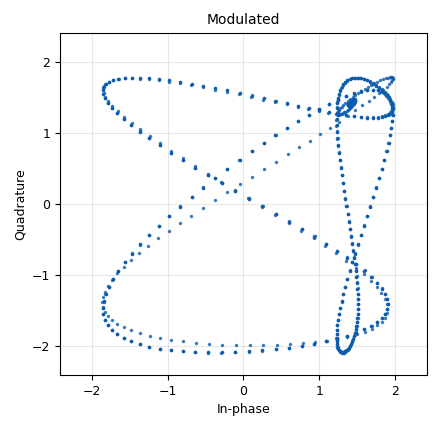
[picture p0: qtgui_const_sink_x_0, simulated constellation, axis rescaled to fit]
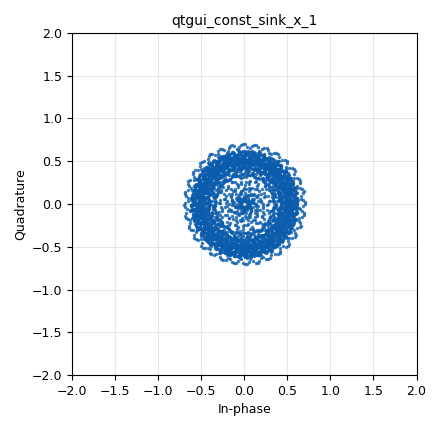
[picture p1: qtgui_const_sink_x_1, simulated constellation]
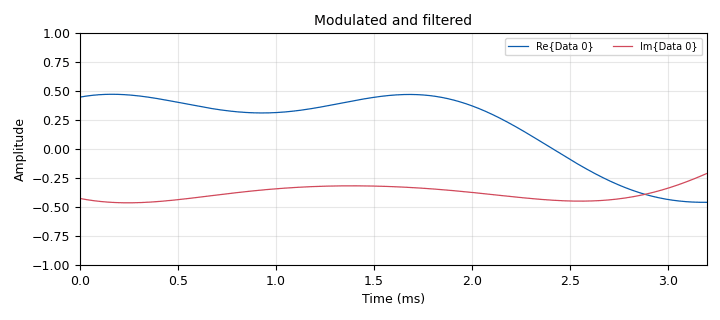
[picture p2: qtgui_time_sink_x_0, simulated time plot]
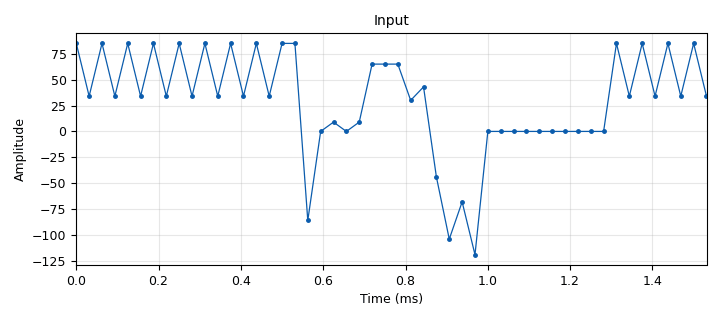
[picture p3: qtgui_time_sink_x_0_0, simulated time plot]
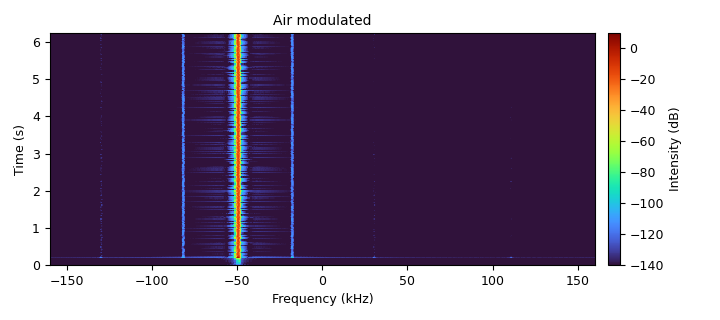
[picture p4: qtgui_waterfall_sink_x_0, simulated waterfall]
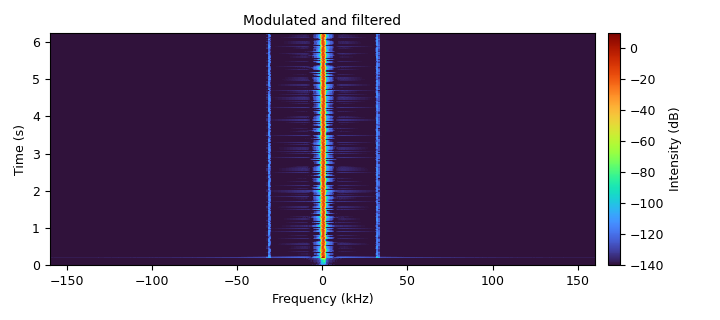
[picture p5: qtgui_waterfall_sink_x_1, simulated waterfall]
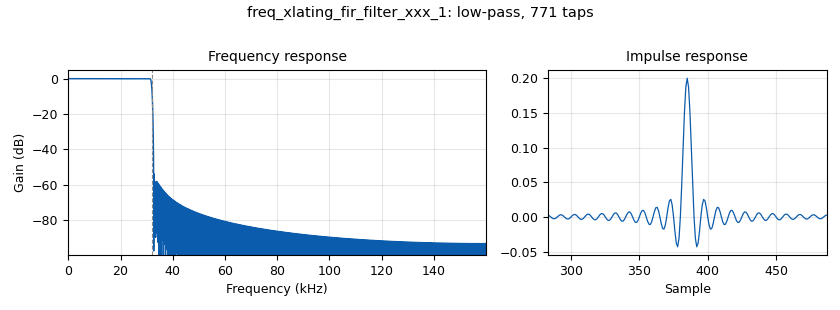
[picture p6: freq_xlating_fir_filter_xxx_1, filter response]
options:
  parameters:
    author: thomas@habets.se
    copyright: thomas@habets.se
    generate_options: qt_gui
    id: dqpsktest_tx
    output_language: python
    title: DQPSK TX test
  states: {}

blocks:
- name: crc_len
  id: variable
  parameters:
    value: '4'
  states: {}
- name: fixed_payload_len
  id: variable
  parameters:
    value: '3'
  states: {}
- name: freq
  id: variable
  parameters:
    value: 2.320e9
  states: {}
- name: offset
  id: variable_qtgui_range
  parameters:
    gui_hint: tabs@1
    orient: Qt.Horizontal
    start: '-300e3'
    step: 1e3
    stop: 300e3
    value: 295e3
  states: {}
- name: ogain
  id: variable_qtgui_range
  parameters:
    gui_hint: tabs@1
    orient: Qt.Horizontal
    start: '0'
    step: '0.01'
    stop: '1'
    value: '0.87'
  states: {}
- name: payload_len
  id: variable
  parameters:
    value: '2'
  states: {}
- name: preamble_len
  id: variable
  parameters:
    value: '16'
  states: {}
- name: qpsk
  id: variable_constellation
  parameters:
    precision: '8'
    type: qpsk
  states: {}
- name: samp_rate
  id: variable
  parameters:
    value: '32000'
  states: {}
- name: sps
  id: variable
  parameters:
    value: '32'
  states: {}
- name: start_tag
  id: variable_tag_object
  parameters:
    comment: Payload start
    key: pmt.intern("packet_len")
    offset: '0'
    src: pmt.intern("src")
    value: pmt.to_pmt(fixed_payload_len+payload_len)
  states: {}
- name: tag_tx_eob
  id: variable_tag_object
  parameters:
    comment: Stop SDR tx
    key: pmt.intern("tx_eob")
    offset: '0'
    src: pmt.intern("src")
    value: pmt.to_pmt(True)
  states: {}
- name: tag_tx_sob
  id: variable_tag_object
  parameters:
    comment: Start SDR tx
    key: pmt.intern("tx_sob")
    offset: '0'
    src: pmt.intern("src")
    value: pmt.to_pmt(True)
  states: {}
- name: trailing_zeroes
  id: variable
  parameters:
    value: '10'
  states: {}
- name: tune_offset
  id: variable
  parameters:
    value: '-50e3'
  states: {}
- name: analog_agc_xx_0
  id: analog_agc_xx
  parameters:
    gain: '1.0'
    max_gain: '65536'
    rate: '1e-4'
    reference: '0.5'
    type: complex
  states: {}
- name: analog_random_source_x_0
  id: analog_random_source_x
  parameters:
    max: '65'
    min: '0'
    num_samps: '1000'
    repeat: 'True'
    type: byte
  states: {}
- name: blocks_char_to_float_0_0
  id: blocks_char_to_float
  parameters:
    scale: '1'
  states: {}
- name: blocks_stream_mux_0
  id: blocks_stream_mux
  parameters:
    lengths: '[fixed_payload_len,payload_len]'
    type: byte
  states: {}
- name: blocks_stream_mux_1
  id: blocks_stream_mux
  parameters:
    lengths: '[preamble_len,7,fixed_payload_len+payload_len+crc_len,trailing_zeroes]'
    num_inputs: '4'
    type: byte
  states: {}
- name: blocks_vector_source_x_0
  id: blocks_vector_source_x
  parameters:
    repeat: 'True'
    tags: ''
    type: byte
    vector: (0x55, 0x55, 0xaa,0x00,fixed_payload_len+payload_len+crc_len,0x00,fixed_payload_len+payload_len+crc_len)
  states: {}
- name: blocks_vector_source_x_0_1
  id: blocks_vector_source_x
  parameters:
    repeat: 'True'
    tags: '[tag_tx_sob]'
    type: byte
    vector: '[0x55, 0x22] * int(preamble_len/2)'
  states: {}
- name: blocks_vector_source_x_1
  id: blocks_vector_source_x
  parameters:
    repeat: 'True'
    tags: '[tag_tx_eob]'
    type: byte
    vector: '[0] * trailing_zeroes'
  states: {}
- name: blocks_vector_source_x_2
  id: blocks_vector_source_x
  parameters:
    repeat: 'True'
    tags: '[start_tag]'
    type: byte
    vector: '[65]*fixed_payload_len'
  states: {}
- name: digital_constellation_modulator_0
  id: digital_constellation_modulator
  parameters:
    constellation: qpsk
    differential: 'True'
    excess_bw: '0.35'
    samples_per_symbol: sps
  states: {}
- name: digital_crc32_bb_0
  id: digital_crc32_bb
  parameters:
    check: 'False'
    lengthtagname: '"packet_len"'
    packed: 'True'
  states: {}
- name: freq_xlating_fir_filter_xxx_0
  id: freq_xlating_fir_filter_xxx
  parameters:
    center_freq: '-tune_offset'
    decim: '1'
    samp_rate: samp_rate*10
    taps: '[1]'
    type: ccc
  states: {}
- name: freq_xlating_fir_filter_xxx_1
  id: freq_xlating_fir_filter_xxx
  parameters:
    center_freq: '0'
    decim: '1'
    samp_rate: samp_rate*10
    taps: firdes.low_pass(1,samp_rate*10,samp_rate,1e3)
    type: ccc
  states: {}
- name: limesdr_sink_0
  id: limesdr_sink
  parameters:
    allow_tcxo_dac: '0'
    channel_mode: '0'
    digital_bandw_ch0: samp_rate*10
    gain_dB_ch0: int(60*ogain)
    oversample: '0'
    rf_freq: freq+offset+tune_offset
    samp_rate: samp_rate*10
  states: {}
- name: note_0
  id: note
  parameters:
    note: Aether
  states: {}
- name: note_1
  id: note
  parameters:
    note: Data generation
  states: {}
- name: note_2
  id: note
  parameters:
    note: Header
  states: {}
- name: note_3
  id: note
  parameters:
    note: Transmit
  states: {}
- name: qtgui_const_sink_x_0
  id: qtgui_const_sink_x
  parameters:
    gui_hint: 'tabs@0: 0,1,2,2'
    name: '"Modulated"'
    size: '1024'
    tr_mode: qtgui.TRIG_MODE_TAG
    tr_tag: '"tx_sob"'
    type: complex
  states: {}
- name: qtgui_const_sink_x_1
  id: qtgui_const_sink_x
  parameters:
    gui_hint: tabs@1
    size: '10240'
    type: complex
  states: {}
- name: qtgui_time_sink_x_0
  id: qtgui_time_sink_x
  parameters:
    name: '"Modulated and filtered"'
    size: '1024'
    srate: samp_rate*10
    type: complex
  states: {}
- name: qtgui_time_sink_x_0_0
  id: qtgui_time_sink_x
  parameters:
    autoscale: 'True'
    gui_hint: 'tabs@0: 0,0'
    marker1: '0'
    name: '"Input"'
    size: '50'
    srate: samp_rate
    tr_mode: qtgui.TRIG_MODE_TAG
    tr_tag: '"tx_sob"'
    type: float
  states: {}
- name: qtgui_waterfall_sink_x_0
  id: qtgui_waterfall_sink_x
  parameters:
    bw: samp_rate*10
    fc: 0*freq
    fftsize: '1024'
    gui_hint: tabs@1
    name: '"Air modulated"'
    type: complex
    wintype: firdes.WIN_BLACKMAN_hARRIS
  states: {}
- name: qtgui_waterfall_sink_x_1
  id: qtgui_waterfall_sink_x
  parameters:
    bw: samp_rate*10
    fc: '0'
    fftsize: '1024'
    gui_hint: tabs@0
    name: '"Modulated and filtered"'
    type: complex
    wintype: firdes.WIN_BLACKMAN_hARRIS
  states: {}
- name: rational_resampler_xxx_0
  id: rational_resampler_xxx
  parameters:
    decim: '1'
    interp: '10'
    taps: ''
    type: ccc
  states: {}
- name: tabs
  id: qtgui_tab_widget
  parameters:
    label0: Modulation
    label1: Air
    num_tabs: '2'
  states: {}
- name: virtual_sink_0
  id: virtual_sink
  parameters:
    stream_id: data
  states: {}
- name: virtual_sink_1
  id: virtual_sink
  parameters:
    stream_id: to_air
  states: {}
- name: virtual_source_0
  id: virtual_source
  parameters:
    stream_id: data
  states: {}
- name: virtual_source_2
  id: virtual_source
  parameters:
    stream_id: to_air
  states: {}

connections:
- [analog_agc_xx_0, '0', freq_xlating_fir_filter_xxx_0, '0']
- [analog_agc_xx_0, '0', qtgui_time_sink_x_0, '0']
- [analog_agc_xx_0, '0', qtgui_waterfall_sink_x_1, '0']
- [analog_random_source_x_0, '0', blocks_stream_mux_0, '1']
- [blocks_char_to_float_0_0, '0', qtgui_time_sink_x_0_0, '0']
- [blocks_stream_mux_0, '0', digital_crc32_bb_0, '0']
- [blocks_stream_mux_1, '0', virtual_sink_0, '0']
- [blocks_vector_source_x_0, '0', blocks_stream_mux_1, '1']
- [blocks_vector_source_x_0_1, '0', blocks_stream_mux_1, '0']
- [blocks_vector_source_x_1, '0', blocks_stream_mux_1, '3']
- [blocks_vector_source_x_2, '0', blocks_stream_mux_0, '0']
- [digital_constellation_modulator_0, '0', qtgui_const_sink_x_0, '0']
- [digital_constellation_modulator_0, '0', virtual_sink_1, '0']
- [digital_crc32_bb_0, '0', blocks_stream_mux_1, '2']
- [freq_xlating_fir_filter_xxx_0, '0', limesdr_sink_0, '0']
- [freq_xlating_fir_filter_xxx_0, '0', qtgui_const_sink_x_1, '0']
- [freq_xlating_fir_filter_xxx_0, '0', qtgui_waterfall_sink_x_0, '0']
- [freq_xlating_fir_filter_xxx_1, '0', analog_agc_xx_0, '0']
- [rational_resampler_xxx_0, '0', freq_xlating_fir_filter_xxx_1, '0']
- [virtual_source_0, '0', blocks_char_to_float_0_0, '0']
- [virtual_source_0, '0', digital_constellation_modulator_0, '0']
- [virtual_source_2, '0', rational_resampler_xxx_0, '0']

metadata:
  file_format: 1
